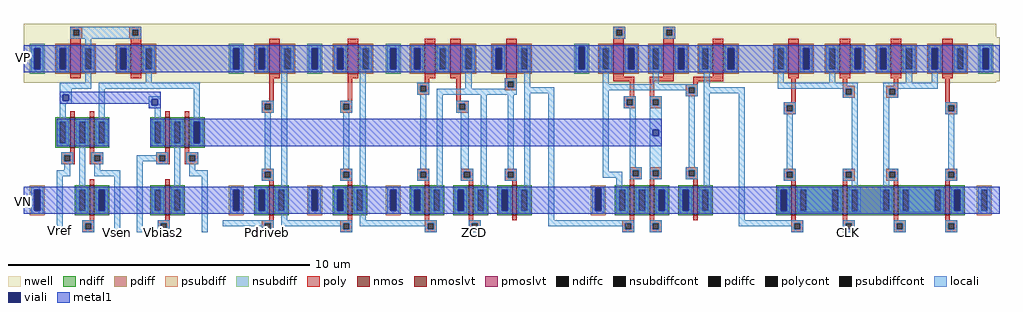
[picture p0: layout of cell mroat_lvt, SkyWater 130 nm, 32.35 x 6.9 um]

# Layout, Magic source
magic
tech sky130A
<< nwell >>
rect -535 345 2690 415
rect -535 220 125 345
rect 385 220 2690 345
<< pmoslvt >>
rect -380 250 -345 350
rect -180 250 -145 350
<< nmoslvt >>
rect -380 5 -365 105
rect -315 5 -300 105
rect -65 5 -50 105
rect 0 5 15 105
rect -315 -220 -300 -120
rect -65 -220 -50 -120
<< ndiff >>
rect -430 90 -380 105
rect -430 20 -415 90
rect -395 20 -380 90
rect -430 5 -380 20
rect -365 90 -315 105
rect -365 20 -350 90
rect -330 20 -315 90
rect -365 5 -315 20
rect -300 90 -250 105
rect -300 20 -285 90
rect -265 20 -250 90
rect -300 5 -250 20
rect -115 90 -65 105
rect -115 20 -100 90
rect -80 20 -65 90
rect -115 5 -65 20
rect -50 90 0 105
rect -50 20 -35 90
rect -15 20 0 90
rect -50 5 0 20
rect 15 90 65 105
rect 15 20 30 90
rect 50 20 65 90
rect 15 5 65 20
rect -365 -135 -315 -120
rect -365 -205 -350 -135
rect -330 -205 -315 -135
rect -365 -220 -315 -205
rect -300 -135 -250 -120
rect -300 -205 -285 -135
rect -265 -205 -250 -135
rect -300 -220 -250 -205
rect -115 -135 -65 -120
rect -115 -205 -100 -135
rect -80 -205 -65 -135
rect -115 -220 -65 -205
rect -50 -135 0 -120
rect -50 -205 -35 -135
rect -15 -205 0 -135
rect -50 -220 0 -205
<< pdiff >>
rect -430 335 -380 350
rect -430 265 -415 335
rect -395 265 -380 335
rect -430 250 -380 265
rect -345 335 -295 350
rect -345 265 -330 335
rect -310 265 -295 335
rect -345 250 -295 265
rect -230 335 -180 350
rect -230 265 -215 335
rect -195 265 -180 335
rect -230 250 -180 265
rect -145 335 -95 350
rect -145 265 -130 335
rect -110 265 -95 335
rect -145 250 -95 265
<< ndiffc >>
rect -415 20 -395 90
rect -350 20 -330 90
rect -285 20 -265 90
rect -100 20 -80 90
rect -35 20 -15 90
rect 30 20 50 90
rect -350 -205 -330 -135
rect -285 -205 -265 -135
rect -100 -205 -80 -135
rect -35 -205 -15 -135
<< pdiffc >>
rect -415 265 -395 335
rect -330 265 -310 335
rect -215 265 -195 335
rect -130 265 -110 335
<< psubdiff >>
rect -515 -135 -465 -120
rect -515 -205 -500 -135
rect -480 -205 -465 -135
rect -515 -220 -465 -205
<< nsubdiff >>
rect -515 335 -465 350
rect -515 265 -500 335
rect -480 265 -465 335
rect -515 250 -465 265
<< psubdiffcont >>
rect -500 -205 -480 -135
<< nsubdiffcont >>
rect -500 265 -480 335
<< poly >>
rect -380 395 -340 405
rect -380 375 -370 395
rect -350 375 -340 395
rect -380 365 -340 375
rect -185 395 -145 405
rect -185 375 -175 395
rect -155 375 -145 395
rect -185 365 -145 375
rect -380 350 -345 365
rect -180 350 -145 365
rect -380 235 -345 250
rect -180 235 -145 250
rect -380 105 -365 125
rect -315 105 -300 125
rect -65 105 -50 125
rect 0 105 15 125
rect -380 -10 -365 5
rect -410 -20 -365 -10
rect -410 -40 -400 -20
rect -380 -40 -365 -20
rect -410 -50 -365 -40
rect -315 -10 -300 5
rect -65 -10 -50 5
rect -315 -20 -270 -10
rect -315 -40 -300 -20
rect -280 -40 -270 -20
rect -315 -50 -270 -40
rect -95 -20 -50 -10
rect -95 -40 -85 -20
rect -65 -40 -50 -20
rect -95 -50 -50 -40
rect 0 -10 15 5
rect 0 -20 45 -10
rect 0 -40 15 -20
rect 35 -40 45 -20
rect 0 -50 45 -40
rect -315 -120 -300 -100
rect -65 -120 -50 -100
rect -315 -235 -300 -220
rect -65 -235 -50 -220
rect -340 -245 -300 -235
rect -340 -265 -330 -245
rect -310 -265 -300 -245
rect -340 -275 -300 -265
rect -90 -245 -50 -235
rect -90 -265 -80 -245
rect -60 -265 -50 -245
rect -90 -275 -50 -265
<< polycont >>
rect -370 375 -350 395
rect -175 375 -155 395
rect -400 -40 -380 -20
rect -300 -40 -280 -20
rect -85 -40 -65 -20
rect 15 -40 35 -20
rect -330 -265 -310 -245
rect -80 -265 -60 -245
<< locali >>
rect -380 395 -145 405
rect -380 375 -370 395
rect -350 375 -175 395
rect -155 375 -145 395
rect -380 365 -145 375
rect -330 345 -310 365
rect -510 335 -470 345
rect -510 265 -500 335
rect -480 265 -470 335
rect -510 255 -470 265
rect -425 335 -385 345
rect -425 265 -415 335
rect -395 265 -385 335
rect -425 255 -385 265
rect -340 335 -300 345
rect -340 265 -330 335
rect -310 265 -300 335
rect -340 255 -300 265
rect -225 335 -185 345
rect -225 265 -215 335
rect -195 265 -185 335
rect -225 255 -185 265
rect -140 335 -100 345
rect -140 265 -130 335
rect -110 265 -100 335
rect -140 255 -100 265
rect -330 220 -310 255
rect -130 220 -110 255
rect -415 200 -310 220
rect -285 200 50 220
rect -415 180 -375 200
rect -415 160 -405 180
rect -385 160 -375 180
rect -415 150 -375 160
rect -415 100 -395 150
rect -285 100 -265 200
rect -120 165 -80 175
rect -120 145 -110 165
rect -90 145 -80 165
rect -120 135 -80 145
rect -100 100 -80 135
rect 30 100 50 200
rect -425 90 -385 100
rect -425 20 -415 90
rect -395 20 -385 90
rect -425 10 -385 20
rect -360 90 -320 100
rect -360 20 -350 90
rect -330 20 -320 90
rect -360 10 -320 20
rect -295 90 -255 100
rect -295 20 -285 90
rect -265 20 -255 90
rect -295 10 -255 20
rect -110 90 -70 100
rect -110 20 -100 90
rect -80 20 -70 90
rect -110 10 -70 20
rect -45 90 -5 100
rect -45 20 -35 90
rect -15 20 -5 90
rect -45 10 -5 20
rect 20 90 60 100
rect 20 20 30 90
rect 50 20 60 90
rect 20 10 60 20
rect 1540 65 1580 135
rect 1540 45 1550 65
rect 1570 45 1580 65
rect -410 -20 -370 -10
rect -410 -40 -400 -20
rect -380 -40 -370 -20
rect -410 -50 -370 -40
rect -400 -70 -380 -50
rect -425 -90 -380 -70
rect -510 -135 -470 -125
rect -510 -205 -500 -135
rect -480 -205 -470 -135
rect -510 -215 -470 -205
rect -425 -270 -405 -90
rect -350 -125 -330 10
rect -310 -20 -270 -10
rect -95 -20 -55 -10
rect -310 -40 -300 -20
rect -280 -40 -270 -20
rect -310 -50 -270 -40
rect -160 -40 -85 -20
rect -65 -40 -55 -20
rect -300 -70 -280 -50
rect -300 -90 -215 -70
rect -360 -135 -320 -125
rect -360 -205 -350 -135
rect -330 -205 -320 -135
rect -360 -215 -320 -205
rect -295 -135 -255 -125
rect -295 -205 -285 -135
rect -265 -205 -255 -135
rect -295 -215 -255 -205
rect -340 -245 -300 -235
rect -340 -265 -330 -245
rect -310 -265 -300 -245
rect -340 -275 -300 -265
rect -235 -275 -215 -90
rect -160 -275 -140 -40
rect -95 -50 -55 -40
rect -35 -125 -15 10
rect 5 -20 45 -10
rect 5 -40 15 -20
rect 35 -40 45 -20
rect 5 -50 45 -40
rect 15 -70 35 -50
rect 1540 -60 1580 45
rect 15 -90 75 -70
rect -110 -135 -70 -125
rect -110 -205 -100 -135
rect -80 -205 -70 -135
rect -110 -215 -70 -205
rect -45 -135 -5 -125
rect -45 -205 -35 -135
rect -15 -205 -5 -135
rect -45 -215 -5 -205
rect -90 -245 -50 -235
rect -90 -265 -80 -245
rect -60 -265 -50 -245
rect -90 -275 -50 -265
rect 55 -275 75 -90
rect 645 -255 795 -235
rect 1260 -255 1465 -235
rect 1920 -255 2010 -235
<< viali >>
rect -500 265 -480 335
rect -415 265 -395 335
rect -215 265 -195 335
rect -405 160 -385 180
rect -110 145 -90 165
rect 30 20 50 90
rect 1550 45 1570 65
rect -500 -205 -480 -135
rect -285 -205 -265 -135
<< metal1 >>
rect -535 335 125 345
rect -535 265 -500 335
rect -480 265 -415 335
rect -395 265 -215 335
rect -195 265 125 335
rect -535 255 125 265
rect 1255 255 1260 345
rect 1910 255 1940 345
rect -415 180 -80 190
rect -415 160 -405 180
rect -385 165 -80 180
rect -385 160 -110 165
rect -415 150 -110 160
rect -120 145 -110 150
rect -90 145 -80 165
rect -120 135 -80 145
rect -425 10 -250 100
rect -115 90 1580 100
rect -115 20 30 90
rect 50 65 1580 90
rect 50 45 1550 65
rect 1570 45 1580 65
rect 50 20 1580 45
rect -115 10 1580 20
rect -535 -135 125 -125
rect -535 -205 -500 -135
rect -480 -205 -285 -135
rect -265 -205 125 -135
rect -535 -215 125 -205
rect 1250 -215 1270 -125
rect 1890 -215 1935 -125
use and_lvt_mroat  and_lvt_mroat_0
transform 1 0 1420 0 1 0
box -160 -275 500 405
use inverter_lvt_mroat  inverter_lvt_mroat_0
transform 1 0 310 0 1 80
box -185 -355 75 300
use inverter_lvt_mroat  inverter_lvt_mroat_1
transform 1 0 570 0 1 80
box -185 -355 75 300
use or_lvt_mroat  or_lvt_mroat_0
transform 1 0 850 0 1 105
box -205 -380 410 280
use sr_latch_lvt_mroat  sr_latch_lvt_mroat_0
transform -1 0 2420 0 1 130
box -280 -405 505 240
<< labels >>
rlabel metal1 -535 305 -535 305 7 VP
rlabel metal1 -535 -175 -535 -175 7 VN
rlabel locali -415 -270 -415 -270 5 Vref
rlabel locali -320 -275 -320 -275 5 Vbias1
rlabel locali -225 -275 -225 -275 5 Vsen
rlabel locali -150 -275 -150 -275 5 Vsen_DC
rlabel locali -70 -275 -70 -275 1 Vbias2
rlabel space -95 -285 -95 -285 5 Vofb
rlabel space 275 -275 275 -275 5 Pdriveb
rlabel space 960 -275 960 -275 5 ZCD
rlabel space 2200 -275 2200 -275 5 CLK
<< end >>

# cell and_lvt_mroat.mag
magic
tech sky130A
<< nwell >>
rect -160 220 490 380
<< pmoslvt >>
rect 0 250 35 350
rect 165 250 200 350
rect 330 250 365 350
<< nmoslvt >>
rect 55 -220 70 -120
rect 120 -220 135 -120
rect 265 -220 280 -120
<< ndiff >>
rect 5 -135 55 -120
rect 5 -205 20 -135
rect 40 -205 55 -135
rect 5 -220 55 -205
rect 70 -135 120 -120
rect 70 -205 85 -135
rect 105 -205 120 -135
rect 70 -220 120 -205
rect 135 -135 185 -120
rect 135 -205 150 -135
rect 170 -205 185 -135
rect 135 -220 185 -205
rect 215 -135 265 -120
rect 215 -205 230 -135
rect 250 -205 265 -135
rect 215 -220 265 -205
rect 280 -135 330 -120
rect 280 -205 295 -135
rect 315 -205 330 -135
rect 280 -220 330 -205
<< pdiff >>
rect -50 335 0 350
rect -50 265 -35 335
rect -15 265 0 335
rect -50 250 0 265
rect 35 335 85 350
rect 35 265 50 335
rect 70 265 85 335
rect 35 250 85 265
rect 115 335 165 350
rect 115 265 130 335
rect 150 265 165 335
rect 115 250 165 265
rect 200 335 250 350
rect 200 265 215 335
rect 235 265 250 335
rect 200 250 250 265
rect 280 335 330 350
rect 280 265 295 335
rect 315 265 330 335
rect 280 250 330 265
rect 365 335 415 350
rect 365 265 380 335
rect 400 265 415 335
rect 365 250 415 265
<< ndiffc >>
rect 20 -205 40 -135
rect 85 -205 105 -135
rect 150 -205 170 -135
rect 230 -205 250 -135
rect 295 -205 315 -135
<< pdiffc >>
rect -35 265 -15 335
rect 50 265 70 335
rect 130 265 150 335
rect 215 265 235 335
rect 295 265 315 335
rect 380 265 400 335
<< psubdiff >>
rect -75 -130 -25 -120
rect -75 -205 -60 -130
rect -40 -205 -25 -130
rect -75 -220 -25 -205
<< nsubdiff >>
rect -130 340 -80 350
rect -130 265 -115 340
rect -95 265 -80 340
rect -130 250 -80 265
<< psubdiffcont >>
rect -60 -205 -40 -130
<< nsubdiffcont >>
rect -115 265 -95 340
<< poly >>
rect 0 395 40 405
rect 0 375 10 395
rect 30 375 40 395
rect 0 365 40 375
rect 165 395 205 405
rect 165 375 175 395
rect 195 375 205 395
rect 165 365 205 375
rect 0 350 35 365
rect 165 350 200 365
rect 330 350 365 365
rect 0 240 35 250
rect 165 240 200 250
rect 330 240 365 250
rect 0 225 70 240
rect 55 175 70 225
rect 120 225 200 240
rect 265 225 365 240
rect 120 175 135 225
rect 265 215 280 225
rect 240 205 280 215
rect 240 185 250 205
rect 270 185 280 205
rect 240 175 280 185
rect 35 165 75 175
rect 35 145 45 165
rect 65 145 75 165
rect 35 135 75 145
rect 120 165 160 175
rect 120 145 130 165
rect 150 145 160 165
rect 120 135 160 145
rect 55 -70 95 -60
rect 55 -90 65 -70
rect 85 -90 95 -70
rect 55 -100 95 -90
rect 120 -70 160 -60
rect 120 -90 130 -70
rect 150 -90 160 -70
rect 120 -100 160 -90
rect 240 -70 280 -60
rect 240 -90 250 -70
rect 270 -90 280 -70
rect 240 -100 280 -90
rect 55 -120 70 -100
rect 120 -120 135 -100
rect 265 -120 280 -100
rect 55 -235 70 -220
rect 30 -245 70 -235
rect 30 -265 40 -245
rect 60 -265 70 -245
rect 30 -275 70 -265
rect 120 -235 135 -220
rect 265 -235 280 -220
rect 120 -245 160 -235
rect 120 -265 130 -245
rect 150 -265 160 -245
rect 120 -275 160 -265
<< polycont >>
rect 10 375 30 395
rect 175 375 195 395
rect 250 185 270 205
rect 45 145 65 165
rect 130 145 150 165
rect 65 -90 85 -70
rect 130 -90 150 -70
rect 250 -90 270 -70
rect 40 -265 60 -245
rect 130 -265 150 -245
<< locali >>
rect 0 395 40 405
rect 0 375 10 395
rect 30 375 40 395
rect 0 365 40 375
rect 165 395 205 405
rect 165 375 175 395
rect 195 375 205 395
rect 165 365 205 375
rect -125 340 -85 345
rect -125 265 -115 340
rect -95 265 -85 340
rect -125 255 -85 265
rect -45 335 -5 345
rect -45 265 -35 335
rect -15 265 -5 335
rect -45 255 -5 265
rect 40 335 80 345
rect 40 265 50 335
rect 70 265 80 335
rect 40 255 80 265
rect 120 335 160 345
rect 120 265 130 335
rect 150 265 160 335
rect 120 255 160 265
rect 205 335 245 345
rect 205 265 215 335
rect 235 265 245 335
rect 205 255 245 265
rect 285 335 325 345
rect 285 265 295 335
rect 315 265 325 335
rect 285 255 325 265
rect 370 335 410 345
rect 370 265 380 335
rect 400 265 410 335
rect 370 255 410 265
rect -35 215 -15 255
rect 130 215 150 255
rect -35 205 280 215
rect -35 195 250 205
rect -35 -75 -15 195
rect 240 185 250 195
rect 270 185 280 205
rect 240 175 280 185
rect 300 205 320 255
rect 300 185 435 205
rect 35 165 75 175
rect 35 145 45 165
rect 65 145 75 165
rect 35 135 75 145
rect 120 165 160 175
rect 120 145 130 165
rect 150 145 160 165
rect 120 135 160 145
rect 55 -60 75 135
rect 130 -60 150 135
rect 250 -60 270 175
rect 55 -70 95 -60
rect -35 -95 30 -75
rect 10 -125 30 -95
rect 55 -90 65 -70
rect 85 -90 95 -70
rect 55 -100 95 -90
rect 120 -70 160 -60
rect 120 -90 130 -70
rect 150 -90 160 -70
rect 120 -100 160 -90
rect 240 -70 280 -60
rect 240 -90 250 -70
rect 270 -90 280 -70
rect 240 -100 280 -90
rect 300 -125 320 185
rect -70 -130 -30 -125
rect -70 -205 -60 -130
rect -40 -205 -30 -130
rect -70 -215 -30 -205
rect 10 -135 50 -125
rect 10 -205 20 -135
rect 40 -205 50 -135
rect 10 -215 50 -205
rect 75 -135 115 -125
rect 75 -205 85 -135
rect 105 -205 115 -135
rect 75 -215 115 -205
rect 140 -135 180 -125
rect 140 -205 150 -135
rect 170 -205 180 -135
rect 140 -215 180 -205
rect 220 -135 260 -125
rect 220 -205 230 -135
rect 250 -205 260 -135
rect 220 -215 260 -205
rect 285 -135 325 -125
rect 285 -205 295 -135
rect 315 -205 325 -135
rect 285 -215 325 -205
rect 415 -235 435 185
rect 30 -245 70 -235
rect 30 -265 40 -245
rect 60 -265 70 -245
rect 30 -275 70 -265
rect 120 -245 160 -235
rect 120 -265 130 -245
rect 150 -265 160 -245
rect 415 -255 500 -235
rect 120 -275 160 -265
<< viali >>
rect -115 265 -95 340
rect 50 265 70 335
rect 215 265 235 335
rect 380 265 400 335
rect -60 -205 -40 -130
rect 150 -205 170 -135
rect 230 -205 250 -135
<< metal1 >>
rect -160 340 490 345
rect -160 265 -115 340
rect -95 335 490 340
rect -95 265 50 335
rect 70 265 215 335
rect 235 265 380 335
rect 400 265 490 335
rect -160 255 490 265
rect -160 -130 490 -125
rect -160 -205 -60 -130
rect -40 -135 490 -130
rect -40 -205 150 -135
rect 170 -205 230 -135
rect 250 -205 490 -135
rect -160 -215 490 -205
<< labels >>
rlabel locali 435 195 435 195 3 Y
port 5 e
rlabel metal1 -160 300 -160 300 7 VP
port 1 w
rlabel locali 20 405 20 405 1 A
port 3 n
rlabel locali 185 405 185 405 1 B
port 4 n
rlabel metal1 -160 -165 -160 -165 7 VN
port 2 w
<< end >>

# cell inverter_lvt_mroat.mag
magic
tech sky130A
<< nwell >>
rect -185 140 75 300
<< pmoslvt >>
rect -30 170 5 270
<< nmoslvt >>
rect -30 -300 -15 -200
<< ndiff >>
rect -80 -215 -30 -200
rect -80 -285 -65 -215
rect -45 -285 -30 -215
rect -80 -300 -30 -285
rect -15 -215 35 -200
rect -15 -285 0 -215
rect 20 -285 35 -215
rect -15 -300 35 -285
<< pdiff >>
rect -80 255 -30 270
rect -80 185 -65 255
rect -45 185 -30 255
rect -80 170 -30 185
rect 5 255 55 270
rect 5 185 20 255
rect 40 185 55 255
rect 5 170 55 185
<< ndiffc >>
rect -65 -285 -45 -215
rect 0 -285 20 -215
<< pdiffc >>
rect -65 185 -45 255
rect 20 185 40 255
<< psubdiff >>
rect -165 -215 -115 -200
rect -165 -285 -150 -215
rect -130 -285 -115 -215
rect -165 -300 -115 -285
<< nsubdiff >>
rect -165 255 -115 270
rect -165 185 -150 255
rect -130 185 -115 255
rect -165 170 -115 185
<< psubdiffcont >>
rect -150 -285 -130 -215
<< nsubdiffcont >>
rect -150 185 -130 255
<< poly >>
rect -30 270 5 285
rect -30 155 5 170
rect -30 80 -15 155
rect -55 70 -15 80
rect -55 50 -45 70
rect -25 50 -15 70
rect -55 40 -15 50
rect -55 -155 -15 -145
rect -55 -175 -45 -155
rect -25 -175 -15 -155
rect -55 -185 -15 -175
rect -30 -200 -15 -185
rect -30 -315 -15 -300
rect -55 -325 -15 -315
rect -55 -345 -45 -325
rect -25 -345 -15 -325
rect -55 -355 -15 -345
<< polycont >>
rect -45 50 -25 70
rect -45 -175 -25 -155
rect -45 -345 -25 -325
<< locali >>
rect -160 255 -120 265
rect -160 185 -150 255
rect -130 185 -120 255
rect -160 175 -120 185
rect -75 255 -35 265
rect -75 185 -65 255
rect -45 185 -35 255
rect -75 175 -35 185
rect 10 255 50 265
rect 10 185 20 255
rect 40 185 50 255
rect 10 175 50 185
rect -55 70 -15 80
rect -55 50 -45 70
rect -25 50 -15 70
rect -55 40 -15 50
rect -45 -145 -25 40
rect -55 -155 -15 -145
rect -55 -175 -45 -155
rect -25 -175 -15 -155
rect -55 -185 -15 -175
rect 10 -205 30 175
rect -160 -215 -120 -205
rect -160 -285 -150 -215
rect -130 -285 -120 -215
rect -160 -295 -120 -285
rect -75 -215 -35 -205
rect -75 -285 -65 -215
rect -45 -285 -35 -215
rect -75 -295 -35 -285
rect -10 -215 30 -205
rect -10 -285 0 -215
rect 20 -285 30 -215
rect -10 -295 30 -285
rect 10 -315 30 -295
rect -185 -325 -15 -315
rect -185 -335 -45 -325
rect -55 -345 -45 -335
rect -25 -345 -15 -325
rect 10 -335 75 -315
rect -55 -355 -15 -345
<< viali >>
rect -150 185 -130 255
rect -65 185 -45 255
rect -150 -285 -130 -215
rect -65 -285 -45 -215
<< metal1 >>
rect -185 255 75 265
rect -185 185 -150 255
rect -130 185 -65 255
rect -45 185 75 255
rect -185 175 75 185
rect -185 -215 75 -205
rect -185 -285 -150 -215
rect -130 -285 -65 -215
rect -45 -285 75 -215
rect -185 -295 75 -285
<< labels >>
rlabel metal1 -185 220 -185 220 7 VP
port 3 w
rlabel metal1 -185 -250 -185 -250 7 VN
port 4 w
rlabel locali -185 -325 -185 -325 7 in
port 1 w
rlabel locali 75 -320 75 -320 3 out
port 2 e
<< end >>

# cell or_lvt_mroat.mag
magic
tech sky130A
<< nwell >>
rect -205 115 405 280
<< pmoslvt >>
rect -55 145 -20 245
rect 30 145 65 245
rect 215 145 250 245
<< nmoslvt >>
rect -55 -325 -40 -225
rect 90 -325 105 -225
rect 235 -325 250 -225
<< ndiff >>
rect -105 -240 -55 -225
rect -105 -310 -90 -240
rect -70 -310 -55 -240
rect -105 -325 -55 -310
rect -40 -240 10 -225
rect -40 -310 -25 -240
rect -5 -310 10 -240
rect -40 -325 10 -310
rect 40 -240 90 -225
rect 40 -310 55 -240
rect 75 -310 90 -240
rect 40 -325 90 -310
rect 105 -240 155 -225
rect 105 -310 120 -240
rect 140 -310 155 -240
rect 105 -325 155 -310
rect 185 -240 235 -225
rect 185 -310 200 -240
rect 220 -310 235 -240
rect 185 -325 235 -310
rect 250 -240 300 -225
rect 250 -310 265 -240
rect 285 -310 300 -240
rect 250 -325 300 -310
<< pdiff >>
rect -105 230 -55 245
rect -105 160 -90 230
rect -70 160 -55 230
rect -105 145 -55 160
rect -20 230 30 245
rect -20 160 -5 230
rect 15 160 30 230
rect -20 145 30 160
rect 65 230 115 245
rect 65 160 80 230
rect 100 160 115 230
rect 65 145 115 160
rect 165 230 215 245
rect 165 160 180 230
rect 200 160 215 230
rect 165 145 215 160
rect 250 230 300 245
rect 250 160 265 230
rect 285 160 300 230
rect 250 145 300 160
<< ndiffc >>
rect -90 -310 -70 -240
rect -25 -310 -5 -240
rect 55 -310 75 -240
rect 120 -310 140 -240
rect 200 -310 220 -240
rect 265 -310 285 -240
<< pdiffc >>
rect -90 160 -70 230
rect -5 160 15 230
rect 80 160 100 230
rect 180 160 200 230
rect 265 160 285 230
<< psubdiff >>
rect -185 -240 -135 -225
rect -185 -310 -170 -240
rect -150 -310 -135 -240
rect -185 -325 -135 -310
<< nsubdiff >>
rect -185 230 -135 245
rect -185 160 -170 230
rect -150 160 -135 230
rect -185 145 -135 160
<< psubdiffcont >>
rect -170 -310 -150 -240
<< nsubdiffcont >>
rect -170 160 -150 230
<< poly >>
rect -55 245 -20 260
rect 30 245 65 260
rect 215 245 250 260
rect -55 130 -20 145
rect 30 130 65 145
rect 215 130 250 145
rect -55 115 -40 130
rect -80 105 -40 115
rect -80 85 -70 105
rect -50 85 -40 105
rect -80 75 -40 85
rect 50 55 65 130
rect 210 120 250 130
rect 210 100 220 120
rect 240 100 250 120
rect 210 90 250 100
rect 50 45 90 55
rect 50 25 60 45
rect 80 25 90 45
rect 50 15 90 25
rect -80 -180 -40 -170
rect -80 -200 -70 -180
rect -50 -200 -40 -180
rect -80 -210 -40 -200
rect 65 -180 105 -170
rect 65 -200 75 -180
rect 95 -200 105 -180
rect 65 -210 105 -200
rect 210 -180 250 -170
rect 210 -200 220 -180
rect 240 -200 250 -180
rect 210 -210 250 -200
rect -55 -225 -40 -210
rect 90 -225 105 -210
rect 235 -225 250 -210
rect -55 -340 -40 -325
rect 90 -340 105 -325
rect 235 -340 250 -325
rect -55 -350 -15 -340
rect -55 -370 -45 -350
rect -25 -370 -15 -350
rect -55 -380 -15 -370
rect 90 -350 130 -340
rect 90 -370 100 -350
rect 120 -370 130 -350
rect 90 -380 130 -370
<< polycont >>
rect -70 85 -50 105
rect 220 100 240 120
rect 60 25 80 45
rect -70 -200 -50 -180
rect 75 -200 95 -180
rect 220 -200 240 -180
rect -45 -370 -25 -350
rect 100 -370 120 -350
<< locali >>
rect -180 230 -140 240
rect -180 160 -170 230
rect -150 160 -140 230
rect -180 150 -140 160
rect -100 230 -60 240
rect -100 160 -90 230
rect -70 160 -60 230
rect -100 150 -60 160
rect -15 230 25 240
rect -15 160 -5 230
rect 15 160 25 230
rect -15 150 25 160
rect 70 230 110 240
rect 70 160 80 230
rect 100 160 110 230
rect 70 150 110 160
rect 170 230 210 240
rect 170 160 180 230
rect 200 160 210 230
rect 170 150 210 160
rect 255 230 295 240
rect 255 160 265 230
rect 285 160 295 230
rect 255 150 295 160
rect -80 105 -40 115
rect -80 85 -70 105
rect -50 85 -40 105
rect 80 95 100 150
rect 210 120 250 130
rect 210 100 220 120
rect 240 100 250 120
rect 210 95 250 100
rect -80 75 -40 85
rect -15 75 250 95
rect 275 100 295 150
rect 275 80 375 100
rect -70 -170 -50 75
rect -80 -180 -40 -170
rect -80 -200 -70 -180
rect -50 -200 -40 -180
rect -80 -210 -40 -200
rect -15 -230 5 75
rect 50 45 90 55
rect 50 25 60 45
rect 80 25 90 45
rect 50 15 90 25
rect 65 -170 90 15
rect 65 -180 105 -170
rect 65 -200 75 -180
rect 95 -200 105 -180
rect 65 -210 105 -200
rect 130 -230 150 75
rect 220 -170 240 75
rect 210 -180 250 -170
rect 210 -200 220 -180
rect 240 -200 250 -180
rect 210 -210 250 -200
rect 275 -230 295 80
rect -180 -240 -140 -230
rect -180 -310 -170 -240
rect -150 -310 -140 -240
rect -180 -320 -140 -310
rect -100 -240 -60 -230
rect -100 -310 -90 -240
rect -70 -310 -60 -240
rect -100 -320 -60 -310
rect -35 -240 5 -230
rect -35 -310 -25 -240
rect -5 -310 5 -240
rect -35 -320 5 -310
rect 45 -240 85 -230
rect 45 -310 55 -240
rect 75 -310 85 -240
rect 45 -320 85 -310
rect 110 -240 150 -230
rect 110 -310 120 -240
rect 140 -310 150 -240
rect 110 -320 150 -310
rect 190 -240 230 -230
rect 190 -310 200 -240
rect 220 -310 230 -240
rect 190 -320 230 -310
rect 255 -240 295 -230
rect 255 -310 265 -240
rect 285 -310 295 -240
rect 255 -320 295 -310
rect 355 -340 375 80
rect -55 -350 -15 -340
rect -55 -370 -45 -350
rect -25 -370 -15 -350
rect -55 -380 -15 -370
rect 90 -350 130 -340
rect 90 -370 100 -350
rect 120 -370 130 -350
rect 355 -360 410 -340
rect 90 -380 130 -370
<< viali >>
rect -170 160 -150 230
rect -90 160 -70 230
rect 180 160 200 230
rect -170 -310 -150 -240
rect -90 -310 -70 -240
rect 55 -310 75 -240
rect 200 -310 220 -240
<< metal1 >>
rect -205 230 405 240
rect -205 160 -170 230
rect -150 160 -90 230
rect -70 160 180 230
rect 200 160 405 230
rect -205 150 405 160
rect -205 -240 405 -230
rect -205 -310 -170 -240
rect -150 -310 -90 -240
rect -70 -310 55 -240
rect 75 -310 200 -240
rect 220 -310 405 -240
rect -205 -320 405 -310
<< labels >>
rlabel metal1 -205 195 -205 195 7 VP
port 1 w
rlabel locali 335 90 335 90 3 Y
port 5 e
rlabel metal1 -205 -275 -205 -275 7 VN
port 2 w
rlabel locali -35 -380 -35 -380 5 A
port 3 s
rlabel locali 110 -380 110 -380 5 B
port 4 s
<< end >>

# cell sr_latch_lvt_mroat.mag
magic
tech sky130A
<< nwell >>
rect -280 95 490 240
<< nmos >>
rect -115 -350 -100 -250
rect 55 -350 70 -250
rect 225 -350 240 -250
rect 395 -350 410 -250
<< pmoslvt >>
rect -125 120 -90 220
rect 45 120 80 220
rect 215 120 250 220
rect 385 120 420 220
<< ndiff >>
rect -165 -265 -115 -250
rect -165 -335 -150 -265
rect -130 -335 -115 -265
rect -165 -350 -115 -335
rect -100 -265 55 -250
rect -100 -335 -85 -265
rect -65 -335 20 -265
rect 40 -335 55 -265
rect -100 -350 55 -335
rect 70 -265 225 -250
rect 70 -335 85 -265
rect 105 -335 190 -265
rect 210 -335 225 -265
rect 70 -350 225 -335
rect 240 -265 395 -250
rect 240 -335 255 -265
rect 275 -335 360 -265
rect 380 -335 395 -265
rect 240 -350 395 -335
rect 410 -265 460 -250
rect 410 -335 425 -265
rect 445 -335 460 -265
rect 410 -350 460 -335
<< pdiff >>
rect -175 205 -125 220
rect -175 135 -160 205
rect -140 135 -125 205
rect -175 120 -125 135
rect -90 205 -40 220
rect -90 135 -75 205
rect -55 135 -40 205
rect -90 120 -40 135
rect -5 205 45 220
rect -5 135 10 205
rect 30 135 45 205
rect -5 120 45 135
rect 80 205 130 220
rect 80 135 95 205
rect 115 135 130 205
rect 80 120 130 135
rect 165 205 215 220
rect 165 135 180 205
rect 200 135 215 205
rect 165 120 215 135
rect 250 205 300 220
rect 250 135 265 205
rect 285 135 300 205
rect 250 120 300 135
rect 335 205 385 220
rect 335 135 350 205
rect 370 135 385 205
rect 335 120 385 135
rect 420 205 470 220
rect 420 135 435 205
rect 455 135 470 205
rect 420 120 470 135
<< ndiffc >>
rect -150 -335 -130 -265
rect -85 -335 -65 -265
rect 20 -335 40 -265
rect 85 -335 105 -265
rect 190 -335 210 -265
rect 255 -335 275 -265
rect 360 -335 380 -265
rect 425 -335 445 -265
<< pdiffc >>
rect -160 135 -140 205
rect -75 135 -55 205
rect 10 135 30 205
rect 95 135 115 205
rect 180 135 200 205
rect 265 135 285 205
rect 350 135 370 205
rect 435 135 455 205
<< psubdiff >>
rect -255 -265 -205 -250
rect -255 -335 -240 -265
rect -220 -335 -205 -265
rect -255 -350 -205 -335
<< nsubdiff >>
rect -260 205 -210 220
rect -260 135 -245 205
rect -225 135 -210 205
rect -260 120 -210 135
<< psubdiffcont >>
rect -240 -335 -220 -265
<< nsubdiffcont >>
rect -245 135 -225 205
<< poly >>
rect -125 220 -90 235
rect 45 220 80 235
rect 215 220 250 235
rect 385 220 420 235
rect -125 105 -90 120
rect 45 105 80 120
rect 215 105 250 120
rect 385 105 420 120
rect -115 25 -100 105
rect 55 80 70 105
rect 225 80 240 105
rect 55 70 95 80
rect 55 50 65 70
rect 85 50 95 70
rect 55 40 95 50
rect 200 70 240 80
rect 200 50 210 70
rect 230 50 240 70
rect 200 40 240 50
rect -140 15 -100 25
rect -140 -5 -130 15
rect -110 -5 -100 15
rect -140 -15 -100 -5
rect 395 25 410 105
rect 395 15 435 25
rect 395 -5 405 15
rect 425 -5 435 15
rect 395 -15 435 -5
rect -140 -205 -100 -195
rect -140 -225 -130 -205
rect -110 -225 -100 -205
rect -140 -235 -100 -225
rect -115 -250 -100 -235
rect 55 -205 95 -195
rect 55 -225 65 -205
rect 85 -225 95 -205
rect 55 -235 95 -225
rect 200 -205 240 -195
rect 200 -225 210 -205
rect 230 -225 240 -205
rect 200 -235 240 -225
rect 55 -250 70 -235
rect 225 -250 240 -235
rect 395 -205 435 -195
rect 395 -225 405 -205
rect 425 -225 435 -205
rect 395 -235 435 -225
rect 395 -250 410 -235
rect -115 -365 -100 -350
rect 55 -365 70 -350
rect 225 -365 240 -350
rect 395 -365 410 -350
rect -140 -375 -100 -365
rect -140 -395 -130 -375
rect -110 -395 -100 -375
rect -140 -405 -100 -395
rect 30 -375 70 -365
rect 30 -395 40 -375
rect 60 -395 70 -375
rect 30 -405 70 -395
rect 200 -375 240 -365
rect 200 -395 210 -375
rect 230 -395 240 -375
rect 200 -405 240 -395
rect 370 -375 410 -365
rect 370 -395 380 -375
rect 400 -395 410 -375
rect 370 -405 410 -395
<< polycont >>
rect 65 50 85 70
rect 210 50 230 70
rect -130 -5 -110 15
rect 405 -5 425 15
rect -130 -225 -110 -205
rect 65 -225 85 -205
rect 210 -225 230 -205
rect 405 -225 425 -205
rect -130 -395 -110 -375
rect 40 -395 60 -375
rect 210 -395 230 -375
rect 380 -395 400 -375
<< locali >>
rect -255 205 -215 215
rect -255 135 -245 205
rect -225 135 -215 205
rect -255 125 -215 135
rect -170 205 -130 215
rect -170 135 -160 205
rect -140 135 -130 205
rect -170 125 -130 135
rect -85 205 -45 215
rect -85 135 -75 205
rect -55 135 -45 205
rect -85 125 -45 135
rect 0 205 40 215
rect 0 135 10 205
rect 30 135 40 205
rect 0 125 40 135
rect 85 205 125 215
rect 85 135 95 205
rect 115 135 125 205
rect 85 125 125 135
rect 170 205 210 215
rect 170 135 180 205
rect 200 135 210 205
rect 170 125 210 135
rect 255 205 295 215
rect 255 135 265 205
rect 285 135 295 205
rect 255 125 295 135
rect 340 205 380 215
rect 340 135 350 205
rect 370 135 380 205
rect 340 125 380 135
rect 425 205 465 215
rect 425 135 435 205
rect 455 135 465 205
rect 425 125 465 135
rect -75 90 -55 125
rect 10 90 30 125
rect 265 90 285 125
rect 435 90 455 125
rect -75 70 105 90
rect 55 50 65 70
rect 85 50 105 70
rect 55 40 105 50
rect -140 15 -100 25
rect -140 -5 -130 15
rect -110 -5 -100 15
rect -140 -15 -100 -5
rect -130 -195 -110 -15
rect 85 -195 105 40
rect -140 -205 -100 -195
rect -140 -225 -130 -205
rect -110 -225 -100 -205
rect -140 -235 -100 -225
rect 55 -205 105 -195
rect 55 -225 65 -205
rect 85 -225 105 -205
rect 55 -235 105 -225
rect 85 -255 105 -235
rect 190 70 455 90
rect 190 50 210 70
rect 230 50 240 70
rect 190 40 240 50
rect 190 -195 210 40
rect 395 15 435 25
rect 395 -5 405 15
rect 425 -5 435 15
rect 395 -15 435 -5
rect 405 -195 425 -15
rect 190 -205 240 -195
rect 190 -225 210 -205
rect 230 -225 240 -205
rect 190 -235 240 -225
rect 395 -205 435 -195
rect 395 -225 405 -205
rect 425 -225 435 -205
rect 395 -235 435 -225
rect 190 -255 210 -235
rect -250 -265 -210 -255
rect -250 -335 -240 -265
rect -220 -335 -210 -265
rect -250 -345 -210 -335
rect -160 -265 -120 -255
rect -160 -335 -150 -265
rect -130 -335 -120 -265
rect -160 -345 -120 -335
rect -95 -265 50 -255
rect -95 -335 -85 -265
rect -65 -335 20 -265
rect 40 -335 50 -265
rect -95 -340 50 -335
rect 75 -265 115 -255
rect 75 -335 85 -265
rect 105 -335 115 -265
rect 75 -340 115 -335
rect 180 -265 220 -255
rect 180 -335 190 -265
rect 210 -335 220 -265
rect 180 -340 220 -335
rect 245 -265 390 -255
rect 245 -335 255 -265
rect 275 -335 360 -265
rect 380 -335 390 -265
rect 245 -340 390 -335
rect 415 -265 455 -255
rect 415 -335 425 -265
rect 445 -335 455 -265
rect 415 -340 455 -335
rect -140 -375 -100 -365
rect -140 -395 -130 -375
rect -110 -395 -100 -375
rect -140 -405 -100 -395
rect 30 -375 70 -365
rect 30 -395 40 -375
rect 60 -395 70 -375
rect 30 -405 70 -395
rect 200 -375 240 -365
rect 200 -395 210 -375
rect 230 -395 240 -375
rect 200 -405 240 -395
rect 370 -375 410 -365
rect 370 -395 380 -375
rect 400 -395 410 -375
rect 370 -405 410 -395
<< viali >>
rect -245 135 -225 205
rect -75 135 -55 205
rect 95 135 115 205
rect 180 135 200 205
rect 350 135 370 205
rect -150 -335 -130 -265
rect 425 -335 445 -265
<< metal1 >>
rect -280 205 490 215
rect -280 135 -245 205
rect -225 135 -75 205
rect -55 135 95 205
rect 115 135 180 205
rect 200 135 350 205
rect 370 135 490 205
rect -280 125 490 135
rect -280 -265 505 -255
rect -280 -335 -150 -265
rect -130 -335 425 -265
rect 445 -335 505 -265
rect -280 -345 505 -335
<< labels >>
rlabel metal1 -280 170 -280 170 7 VP
port 1 w
rlabel metal1 -280 -295 -280 -295 7 VN
port 2 w
rlabel locali -120 -405 -120 -405 5 S
port 3 s
rlabel locali 50 -405 50 -405 5 Q
port 5 s
rlabel locali 220 -405 220 -405 5 Qb
port 6 s
rlabel locali 390 -405 390 -405 5 R
port 4 s
<< end >>
